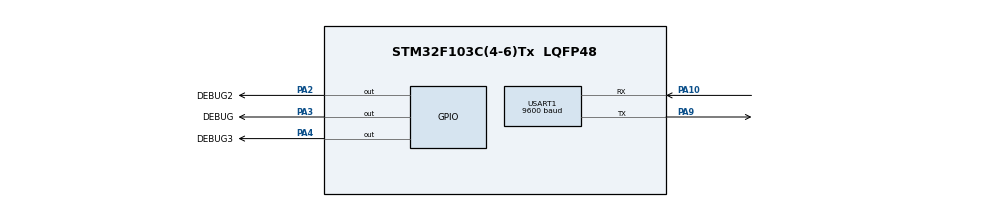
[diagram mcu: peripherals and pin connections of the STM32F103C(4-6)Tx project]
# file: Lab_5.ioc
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Mcu.Family=STM32F1
Mcu.Name=STM32F103C(4-6)Tx
Mcu.Package=LQFP48
NVIC.PriorityGroup=NVIC_PRIORITYGROUP_4
NVIC.TIM2_IRQn=true\:0\:0\:false\:false\:true\:true\:true
NVIC.USART1_IRQn=true\:0\:0\:false\:false\:true\:true\:true
PA10.Mode=Asynchronous
PA10.Signal=USART1_RX
PA2.GPIO_Label=DEBUG2
PA2.Signal=GPIO_Output
PA3.GPIO_Label=DEBUG
PA3.Signal=GPIO_Output
PA4.GPIO_Label=DEBUG3
PA4.Signal=GPIO_Output
PA9.Mode=Asynchronous
PA9.Signal=USART1_TX
ProjectManager.HeapSize=0x200
ProjectManager.StackSize=0x400
ProjectManager.TargetToolchain=STM32CubeIDE
RCC.APB1Freq_Value=8000000
RCC.APB2Freq_Value=8000000
TIM2.Period=99
TIM2.Prescaler=799
USART1.BaudRate=9600
USART1.VirtualMode=VM_ASYNC
VP_SYS_VS_ND.Mode=No_Debug
VP_TIM2_VS_ClockSourceINT.Mode=Internal
board=custom

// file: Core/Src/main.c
/* USER CODE BEGIN Header */
/**
  ******************************************************************************
  * @file           : main.c
  * @brief          : Main program body
  ******************************************************************************
  * @attention
  *
  * <h2><center>&copy; Copyright (c) 2023 STMicroelectronics.
  * All rights reserved.</center></h2>
  *
  * This software component is licensed by ST under BSD 3-Clause license,
  * the "License"; You may not use this file except in compliance with the
  * License. You may obtain a copy of the License at:
  *                        opensource.org/licenses/BSD-3-Clause
  *
  ******************************************************************************
  */
/* USER CODE END Header */
#include "main.h"

/* USER CODE BEGIN Includes */
#include "uart_printf.h"
#include "Scheduler.h"
/* USER CODE END Includes */

TIM_HandleTypeDef htim2;

UART_HandleTypeDef huart1;

/* USER CODE BEGIN PV */
uint32_t id1,id2;
/* USER CODE END PV */

void SystemClock_Config(void);
static void MX_GPIO_Init(void);
static void MX_TIM2_Init(void);
static void MX_USART1_UART_Init(void);
/* USER CODE BEGIN PFP */
void toggleLed(void);
void toggleLed2();
/* USER CODE END PFP */

int main(void)
{

  /* MCU Configuration--------------------------------------------------------*/

  /* Reset of all peripherals, Initializes the Flash interface and the Systick. */
  HAL_Init();

  /* Configure the system clock */
  SystemClock_Config();

  /* Initialize all configured peripherals */
  MX_GPIO_Init();
  MX_TIM2_Init();
  MX_USART1_UART_Init();
  /* USER CODE BEGIN 2 */
  init_uart_printf(&huart1);
  HAL_TIM_Base_Start_IT(&htim2);
  SCH_Init(&htim2);
  /* USER CODE END 2 */

  /* Infinite loop */
  /* USER CODE BEGIN WHILE */
  id1 = SCH_Add_Task(toggleLed, 500, 250);
  id2 = SCH_Add_Task(toggleLed2, 510, 500);
  while (1)
  {
    /* USER CODE END WHILE */

  }
}

void SystemClock_Config(void)
{
  RCC_OscInitTypeDef RCC_OscInitStruct = {0};
  RCC_ClkInitTypeDef RCC_ClkInitStruct = {0};

  /** Initializes the RCC Oscillators according to the specified parameters
  * in the RCC_OscInitTypeDef structure.
  */
  RCC_OscInitStruct.OscillatorType = RCC_OSCILLATORTYPE_HSI;
  RCC_OscInitStruct.HSIState = RCC_HSI_ON;
  RCC_OscInitStruct.HSICalibrationValue = RCC_HSICALIBRATION_DEFAULT;
  RCC_OscInitStruct.PLL.PLLState = RCC_PLL_NONE;
  if (HAL_RCC_OscConfig(&RCC_OscInitStruct) != HAL_OK)
  {
    Error_Handler();
  }
  /** Initializes the CPU, AHB and APB buses clocks
  */
  RCC_ClkInitStruct.ClockType = RCC_CLOCKTYPE_HCLK|RCC_CLOCKTYPE_SYSCLK
                              |RCC_CLOCKTYPE_PCLK1|RCC_CLOCKTYPE_PCLK2;
  RCC_ClkInitStruct.SYSCLKSource = RCC_SYSCLKSOURCE_HSI;
  RCC_ClkInitStruct.AHBCLKDivider = RCC_SYSCLK_DIV1;
  RCC_ClkInitStruct.APB1CLKDivider = RCC_HCLK_DIV1;
  RCC_ClkInitStruct.APB2CLKDivider = RCC_HCLK_DIV1;

  if (HAL_RCC_ClockConfig(&RCC_ClkInitStruct, FLASH_LATENCY_0) != HAL_OK)
  {
    Error_Handler();
  }
}

static void MX_TIM2_Init(void)
{

  TIM_ClockConfigTypeDef sClockSourceConfig = {0};
  TIM_MasterConfigTypeDef sMasterConfig = {0};

  htim2.Instance = TIM2;
  htim2.Init.Prescaler = 799;
  htim2.Init.CounterMode = TIM_COUNTERMODE_UP;
  htim2.Init.Period = 99;
  htim2.Init.ClockDivision = TIM_CLOCKDIVISION_DIV1;
  htim2.Init.AutoReloadPreload = TIM_AUTORELOAD_PRELOAD_DISABLE;
  if (HAL_TIM_Base_Init(&htim2) != HAL_OK)
  {
    Error_Handler();
  }
  sClockSourceConfig.ClockSource = TIM_CLOCKSOURCE_INTERNAL;
  if (HAL_TIM_ConfigClockSource(&htim2, &sClockSourceConfig) != HAL_OK)
  {
    Error_Handler();
  }
  sMasterConfig.MasterOutputTrigger = TIM_TRGO_RESET;
  sMasterConfig.MasterSlaveMode = TIM_MASTERSLAVEMODE_DISABLE;
  if (HAL_TIMEx_MasterConfigSynchronization(&htim2, &sMasterConfig) != HAL_OK)
  {
    Error_Handler();
  }

}

static void MX_USART1_UART_Init(void)
{

  huart1.Instance = USART1;
  huart1.Init.BaudRate = 9600;
  huart1.Init.WordLength = UART_WORDLENGTH_8B;
  huart1.Init.StopBits = UART_STOPBITS_1;
  huart1.Init.Parity = UART_PARITY_NONE;
  huart1.Init.Mode = UART_MODE_TX_RX;
  huart1.Init.HwFlowCtl = UART_HWCONTROL_NONE;
  huart1.Init.OverSampling = UART_OVERSAMPLING_16;
  if (HAL_UART_Init(&huart1) != HAL_OK)
  {
    Error_Handler();
  }

}

static void MX_GPIO_Init(void)
{
  GPIO_InitTypeDef GPIO_InitStruct = {0};

  /* GPIO Ports Clock Enable */
  __HAL_RCC_GPIOA_CLK_ENABLE();

  /*Configure GPIO pin Output Level */
  HAL_GPIO_WritePin(GPIOA, DEBUG2_Pin|DEBUG_Pin|DEBUG3_Pin, GPIO_PIN_RESET);

  /*Configure GPIO pins : DEBUG2_Pin DEBUG_Pin DEBUG3_Pin */
  GPIO_InitStruct.Pin = DEBUG2_Pin|DEBUG_Pin|DEBUG3_Pin;
  GPIO_InitStruct.Mode = GPIO_MODE_OUTPUT_PP;
  GPIO_InitStruct.Pull = GPIO_NOPULL;
  GPIO_InitStruct.Speed = GPIO_SPEED_FREQ_LOW;
  HAL_GPIO_Init(GPIOA, &GPIO_InitStruct);

}

/* USER CODE BEGIN 4 */
void toggleLed() {
	HAL_GPIO_TogglePin(DEBUG2_GPIO_Port, DEBUG2_Pin);
}
void toggleLed2() {
	HAL_GPIO_TogglePin(DEBUG_GPIO_Port, DEBUG_Pin);
}
void HAL_TIM_PeriodElapsedCallback(TIM_HandleTypeDef *htim) {
	//HAL_ResumeTick(); // resume systick from sleep
//	static uint32_t count = 1000;
	if(htim->Instance == TIM2) {
		SCH_Update();
//		if(count) {
//			count--;
//			if(count == 0) {
//				count = 1000;
//				SCH_Delete_Task(id1);
//			}
//		}
	}
}
/* USER CODE END 4 */

void Error_Handler(void)
{
  __disable_irq();
  while (1)
  {
  }
}

/************************ (C) COPYRIGHT STMicroelectronics *****END OF FILE****/
